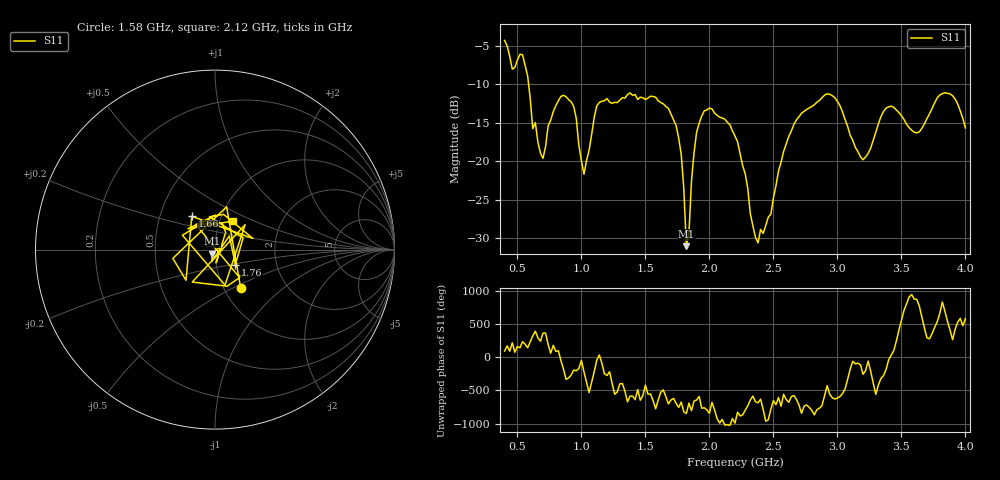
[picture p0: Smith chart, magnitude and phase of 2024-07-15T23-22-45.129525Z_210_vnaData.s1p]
!Created with skrf (http://scikit-rf.org).
# Hz S RI R 50.0
!freq ReS11 ImS11
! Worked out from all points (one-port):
!   181 points, 400 MHz to 4 GHz, reference 50 ohm
!   lowest |S11| = -31.1 dB at 1.82 GHz (marker M1), VSWR 1.06, Z = 48.3 - j2.16 ohm
!   |S11| at or under -10 dB: 587.2 MHz to end of sweep
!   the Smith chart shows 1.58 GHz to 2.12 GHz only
!   S11 on the Smith chart (normalised r, x): 1.58 GHz: 1.19, -0.55; 1.66 GHz: 0.72, +0.28; 1.76 GHz: 1.24, -0.21; 2.12 GHz: 1.15, +0.38
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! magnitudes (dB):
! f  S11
! 400 MHz  -4.3
! 460 MHz  -8.1
! 540 MHz  -6.2
! 620 MHz  -15.8
! 700 MHz  -19.6
! 860 MHz  -11.5
! 940 MHz  -12.9
! 1.02 GHz  -21.7
! 1.12 GHz  -12.8
! 1.3 GHz  -12.1
! 1.58 GHz  -11.7
! 1.66 GHz  -12.9
! 1.76 GHz  -17.0
! 1.8 GHz  -23.6
! 1.82 GHz  -31.1
! 1.88 GHz  -18.9
! 1.92 GHz  -15.1
! 2.12 GHz  -14.6
! 2.2 GHz  -16.8
! 2.38 GHz  -30.6
! 2.66 GHz  -15.2
! 2.92 GHz  -11.3
! 3.1 GHz  -16.6
! 3.2 GHz  -19.8
! 3.38 GHz  -13.1
! 3.56 GHz  -15.6
! 3.84 GHz  -11.1
! 4 GHz  -15.7
